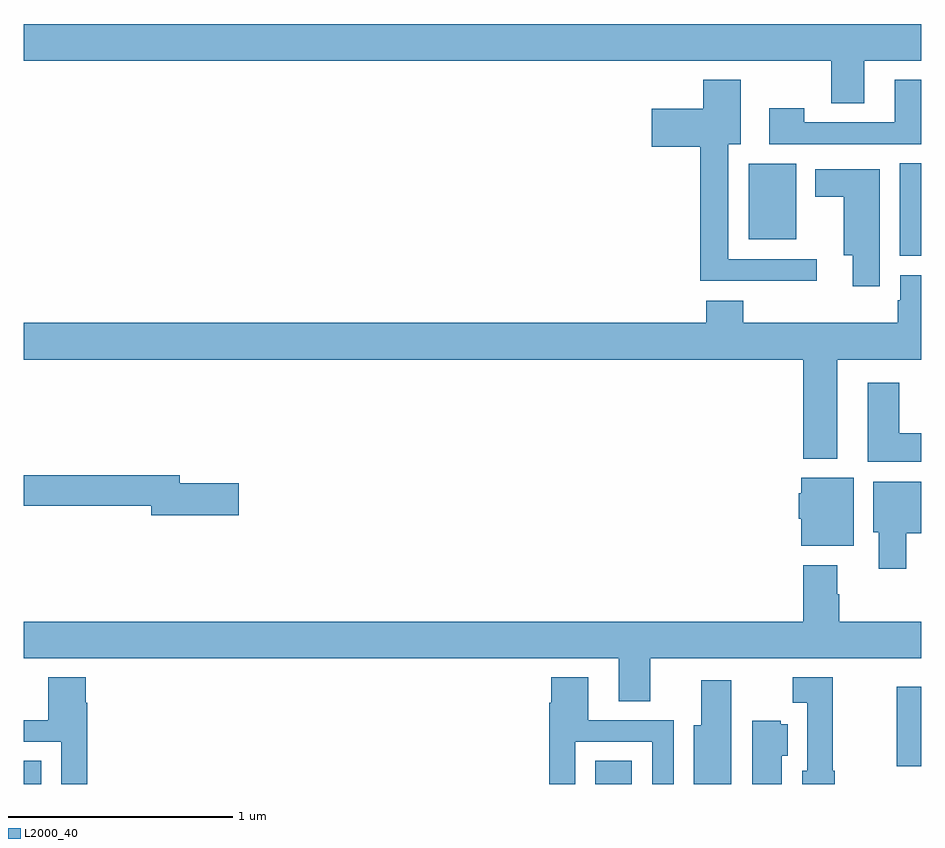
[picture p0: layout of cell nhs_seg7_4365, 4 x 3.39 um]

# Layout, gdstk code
import gdstk
lib = gdstk.Library(unit=1e-6, precision=1e-09)
def R(c, l, rs):  # rectangles x0, y0, x1, y1
    for r in rs: c.add(gdstk.rectangle(r[:2], r[2:], *l))
def P(c, l, *ps):  # polygons
    for p in ps: c.add(gdstk.Polygon(p, *l))
L2000_40 = (2000, 40)

nhs_seg7_4365 = lib.new_cell('nhs_seg7_4365')
R(nhs_seg7_4365, L2000_40, [(385,1056,385.078,1056.104), (387.548,1056,387.709,1056.104), (388.891,1056.08,389,1056.433), (388.904,1058.354,389,1058.768), (388.232,1058.429,388.444,1058.764)])
P(nhs_seg7_4365, L2000_40, [(388.747,1059.224),(389,1059.224),(389,1059.388),(385,1059.388),(385,1059.224),(388.6,1059.224),(388.6,1059.034),(388.747,1059.034)],
  [(388.534,1058.34),(388.141,1058.34),(388.141,1058.852),(388.195,1058.852),(388.195,1059.139),(388.028,1059.139),(388.028,1059.01),(387.798,1059.01),(387.798,1058.84),(388.016,1058.84),(388.016,1058.243),(388.534,1058.243)],
  [(389,1059.139),(388.883,1059.139),(388.883,1058.949),(388.479,1058.949),(388.479,1059.013),(388.323,1059.013),(388.323,1058.853),(389,1058.853)],
  [(388.816,1058.74),(388.529,1058.74),(388.529,1058.618),(388.655,1058.618),(388.655,1058.357),(388.694,1058.357),(388.694,1058.22),(388.816,1058.22)],
  [(388.627,1057.892),(389,1057.892),(389,1058.269),(388.907,1058.269),(388.907,1058.157),(388.895,1058.157),(388.895,1058.056),(388.208,1058.056),(388.208,1058.155),(388.043,1058.155),(388.043,1058.056),(385,1058.056),(385,1057.892),(388.475,1057.892),(388.475,1057.451),(388.627,1057.451)],
  [(389,1057.564),(388.903,1057.564),(388.903,1057.789),(388.763,1057.789),(388.763,1057.436),(389,1057.436)],
  [(385.957,1057.34),(385.696,1057.34),(385.696,1057.376),(385,1057.376),(385,1057.24),(385.568,1057.24),(385.568,1057.198),(385.957,1057.198)],
  [(388.699,1057.366),(388.466,1057.366),(388.466,1057.296),(388.454,1057.296),(388.454,1057.182),(388.466,1057.182),(388.466,1057.061),(388.699,1057.061)],
  [(388.933,1057.118),(389,1057.118),(389,1057.348),(388.787,1057.348),(388.787,1057.122),(388.811,1057.122),(388.811,1056.96),(388.933,1056.96)],
  [(387.793,1056.56),(389,1056.56),(389,1056.724),(388.635,1056.724),(388.635,1056.845),(388.627,1056.845),(388.627,1056.976),(388.475,1056.976),(388.475,1056.724),(385,1056.724),(385,1056.56),(387.653,1056.56),(387.653,1056.37),(387.793,1056.37)],
  [(387.459,1056.189),(387.801,1056.189),(387.801,1056),(387.897,1056),(387.897,1056.285),(387.517,1056.285),(387.517,1056.475),(387.35,1056.475),(387.35,1056.362),(387.343,1056.362),(387.343,1056),(387.459,1056)],
  [(388.615,1056.06),(388.607,1056.06),(388.607,1056.475),(388.428,1056.475),(388.428,1056.362),(388.493,1056.362),(388.493,1056.06),(388.469,1056.06),(388.469,1056),(388.615,1056)],
  [(385.283,1056.362),(385.277,1056.362),(385.277,1056.475),(385.109,1056.475),(385.109,1056.285),(385,1056.285),(385,1056.189),(385.167,1056.189),(385.167,1056),(385.283,1056)],
  [(388.153,1056.463),(388.019,1056.463),(388.019,1056.262),(387.986,1056.262),(387.986,1056),(388.153,1056)],
  [(388.378,1056.126),(388.405,1056.126),(388.405,1056.266),(388.374,1056.266),(388.374,1056.283),(388.247,1056.283),(388.247,1056),(388.378,1056)])

lib.write_gds('nhs_seg7_4365.gds')
